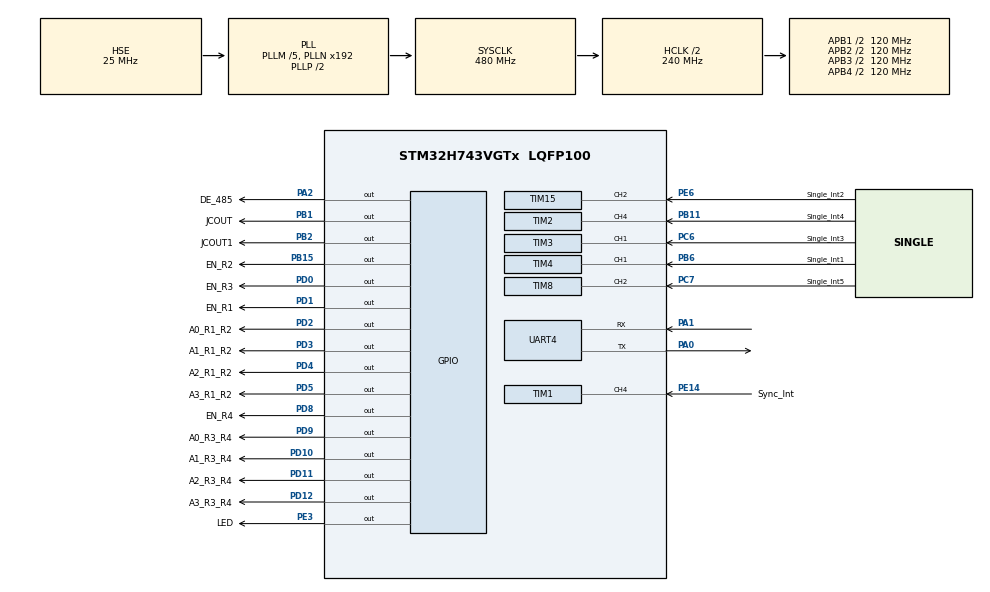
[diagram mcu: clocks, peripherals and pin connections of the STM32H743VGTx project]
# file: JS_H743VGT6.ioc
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CORTEX_M7.default_mode_Activation=1
FREERTOS.CountingSemaphores01=HolesCountingSem,16,Dynamic,NULL,0
FREERTOS.Events01=PositionEvent1_MPC1,Dynamic,NULL;PositionEvent2_MPC1,Dynamic,NULL;PositionEvent3_MPC1,Dynamic,NULL;PositionEvent4_MPC1,Dynamic,NULL;PositionEvent1_MPC2,Dynamic,NULL;PositionEvent2_MPC2,Dynamic,NULL;PositionEvent3_MPC2,Dynamic,NULL;PositionEvent4_MPC2,Dynamic,NULL
FREERTOS.Tasks01=SyncTask,34,128,StartSyncTask,Default,NULL,Dynamic,NULL,NULL;ICTask,32,128,StartICTask,Default,NULL,Dynamic,NULL,NULL;Rec_SwitchTask,32,128,StartRec_SwitchTask,Default,NULL,Dynamic,NULL,NULL;AlarmTask,24,128,StartAlarmTask,Default,NULL,Dynamic,NULL,NULL;Hole_ldentify,24,128,StartHole_ldentifyTask,Default,NULL,Dynamic,NULL,NULL
Mcu.Family=STM32H7
Mcu.Name=STM32H743VGTx
Mcu.Package=LQFP100
NVIC.PriorityGroup=NVIC_PRIORITYGROUP_4
NVIC.TIM15_IRQn=true\:5\:0\:false\:false\:true\:true\:true\:true\:true
NVIC.TIM17_IRQn=true\:15\:0\:false\:false\:true\:false\:false\:true\:true
NVIC.TIM1_CC_IRQn=true\:6\:0\:true\:false\:true\:true\:true\:true\:true
NVIC.TIM1_UP_IRQn=true\:6\:0\:true\:false\:true\:true\:true\:true\:true
NVIC.TIM2_IRQn=true\:6\:0\:true\:false\:true\:true\:true\:true\:true
NVIC.TIM3_IRQn=true\:6\:0\:true\:false\:true\:true\:true\:true\:true
NVIC.TIM4_IRQn=true\:6\:0\:true\:false\:true\:true\:true\:true\:true
NVIC.TIM6_DAC_IRQn=true\:5\:0\:false\:false\:true\:true\:true\:true\:true
NVIC.TIM7_IRQn=true\:6\:0\:true\:false\:true\:true\:true\:true\:true
NVIC.TIM8_CC_IRQn=true\:6\:0\:true\:false\:true\:true\:true\:true\:true
NVIC.TIM8_UP_TIM13_IRQn=true\:6\:0\:true\:false\:true\:true\:true\:true\:true
NVIC.TimeBase=TIM17_IRQn
NVIC.TimeBaseIP=TIM17
NVIC.UART4_IRQn=true\:6\:0\:true\:false\:true\:true\:true\:true\:true
PA0.Mode=Asynchronous
PA0.Signal=UART4_TX
PA1.Mode=Asynchronous
PA1.Signal=UART4_RX
PA13\ (JTMS/SWDIO).Mode=Serial_Wire
PA13\ (JTMS/SWDIO).Signal=DEBUG_JTMS-SWDIO
PA14\ (JTCK/SWCLK).Mode=Serial_Wire
PA14\ (JTCK/SWCLK).Signal=DEBUG_JTCK-SWCLK
PA2.GPIO_Label=DE_485
PA2.GPIO_Speed=GPIO_SPEED_FREQ_HIGH
PA2.Signal=GPIO_Output
PB1.GPIO_Label=JCOUT
PB1.GPIO_Speed=GPIO_SPEED_FREQ_HIGH
PB1.Signal=GPIO_Output
PB11.GPIO_Label=Single_Int4
PB11.GPIO_Speed=GPIO_SPEED_FREQ_HIGH
PB11.Signal=S_TIM2_CH4
PB15.GPIO_Label=EN_R2
PB15.GPIO_ModeDefaultOutputPP=GPIO_MODE_OUTPUT_OD
PB15.GPIO_PuPd=GPIO_NOPULL
PB15.GPIO_Speed=GPIO_SPEED_FREQ_HIGH
PB15.PinState=GPIO_PIN_SET
PB15.Signal=GPIO_Output
PB2.GPIO_Label=JCOUT1
PB2.GPIO_Speed=GPIO_SPEED_FREQ_HIGH
PB2.Signal=GPIO_Output
PB6.GPIO_Label=Single_Int1
PB6.GPIO_Speed=GPIO_SPEED_FREQ_HIGH
PB6.Signal=S_TIM4_CH1
PC6.GPIO_Label=Single_Int3
PC6.GPIO_Speed=GPIO_SPEED_FREQ_HIGH
PC6.Signal=S_TIM3_CH1
PC7.GPIO_Label=Single_Int5
PC7.GPIO_Speed=GPIO_SPEED_FREQ_HIGH
PC7.Signal=S_TIM8_CH2
PD0.GPIO_Label=EN_R3
PD0.GPIO_ModeDefaultOutputPP=GPIO_MODE_OUTPUT_OD
PD0.GPIO_PuPd=GPIO_NOPULL
PD0.GPIO_Speed=GPIO_SPEED_FREQ_HIGH
PD0.PinState=GPIO_PIN_SET
PD0.Signal=GPIO_Output
PD1.GPIO_Label=EN_R1
PD1.GPIO_ModeDefaultOutputPP=GPIO_MODE_OUTPUT_OD
PD1.GPIO_PuPd=GPIO_NOPULL
PD1.GPIO_Speed=GPIO_SPEED_FREQ_HIGH
PD1.PinState=GPIO_PIN_SET
PD1.Signal=GPIO_Output
PD10.GPIO_Label=A1_R3_R4
PD10.GPIO_ModeDefaultOutputPP=GPIO_MODE_OUTPUT_OD
PD10.GPIO_PuPd=GPIO_NOPULL
PD10.GPIO_Speed=GPIO_SPEED_FREQ_HIGH
PD10.PinState=GPIO_PIN_SET
PD10.Signal=GPIO_Output
PD11.GPIO_Label=A2_R3_R4
PD11.GPIO_ModeDefaultOutputPP=GPIO_MODE_OUTPUT_OD
PD11.GPIO_PuPd=GPIO_NOPULL
PD11.GPIO_Speed=GPIO_SPEED_FREQ_HIGH
PD11.PinState=GPIO_PIN_SET
PD11.Signal=GPIO_Output
PD12.GPIO_Label=A3_R3_R4
PD12.GPIO_ModeDefaultOutputPP=GPIO_MODE_OUTPUT_OD
PD12.GPIO_PuPd=GPIO_NOPULL
PD12.GPIO_Speed=GPIO_SPEED_FREQ_HIGH
PD12.PinState=GPIO_PIN_SET
PD12.Signal=GPIO_Output
PD2.GPIO_Label=A0_R1_R2
PD2.GPIO_ModeDefaultOutputPP=GPIO_MODE_OUTPUT_OD
PD2.GPIO_PuPd=GPIO_NOPULL
PD2.GPIO_Speed=GPIO_SPEED_FREQ_HIGH
PD2.PinState=GPIO_PIN_SET
PD2.Signal=GPIO_Output
PD3.GPIO_Label=A1_R1_R2
PD3.GPIO_ModeDefaultOutputPP=GPIO_MODE_OUTPUT_OD
PD3.GPIO_PuPd=GPIO_NOPULL
PD3.GPIO_Speed=GPIO_SPEED_FREQ_HIGH
PD3.PinState=GPIO_PIN_SET
PD3.Signal=GPIO_Output
PD4.GPIO_Label=A2_R1_R2
PD4.GPIO_ModeDefaultOutputPP=GPIO_MODE_OUTPUT_OD
PD4.GPIO_PuPd=GPIO_NOPULL
PD4.GPIO_Speed=GPIO_SPEED_FREQ_HIGH
PD4.PinState=GPIO_PIN_SET
PD4.Signal=GPIO_Output
PD5.GPIO_Label=A3_R1_R2
PD5.GPIO_ModeDefaultOutputPP=GPIO_MODE_OUTPUT_OD
PD5.GPIO_PuPd=GPIO_NOPULL
PD5.GPIO_Speed=GPIO_SPEED_FREQ_HIGH
PD5.PinState=GPIO_PIN_SET
PD5.Signal=GPIO_Output
PD8.GPIO_Label=EN_R4
PD8.GPIO_ModeDefaultOutputPP=GPIO_MODE_OUTPUT_OD
PD8.GPIO_PuPd=GPIO_NOPULL
PD8.GPIO_Speed=GPIO_SPEED_FREQ_HIGH
PD8.PinState=GPIO_PIN_SET
PD8.Signal=GPIO_Output
PD9.GPIO_Label=A0_R3_R4
PD9.GPIO_ModeDefaultOutputPP=GPIO_MODE_OUTPUT_OD
PD9.GPIO_PuPd=GPIO_NOPULL
PD9.GPIO_Speed=GPIO_SPEED_FREQ_HIGH
PD9.PinState=GPIO_PIN_SET
PD9.Signal=GPIO_Output
PE14.GPIO_Label=Sync_Int
PE14.GPIO_Speed=GPIO_SPEED_FREQ_HIGH
PE14.Signal=S_TIM1_CH4
PE3.GPIO_Label=LED
PE3.GPIO_Speed=GPIO_SPEED_FREQ_HIGH
PE3.PinState=GPIO_PIN_SET
PE3.Signal=GPIO_Output
PE6.GPIO_Label=Single_Int2
PE6.GPIO_Speed=GPIO_SPEED_FREQ_HIGH
PE6.Signal=S_TIM15_CH2
PH0-OSC_IN\ (PH0).Mode=HSE-External-Oscillator
PH0-OSC_IN\ (PH0).Signal=RCC_OSC_IN
PH1-OSC_OUT\ (PH1).Mode=HSE-External-Oscillator
PH1-OSC_OUT\ (PH1).Signal=RCC_OSC_OUT
ProjectManager.HeapSize=0x200
ProjectManager.StackSize=0x400
ProjectManager.TargetToolchain=MDK-ARM V5.32
RCC.ADCFreq_Value=50390625
RCC.APB1Freq_Value=120000000
RCC.APB2Freq_Value=120000000
RCC.APB3Freq_Value=120000000
RCC.APB4Freq_Value=120000000
RCC.CortexFreq_Value=480000000
RCC.D1PPRE=RCC_APB3_DIV2
RCC.D2PPRE1=RCC_APB1_DIV2
RCC.D2PPRE2=RCC_APB2_DIV2
RCC.D3PPRE=RCC_APB4_DIV2
RCC.DIVM1=5
RCC.DIVN1=192
RCC.HCLKFreq_Value=240000000
RCC.HPRE=RCC_HCLK_DIV2
RCC.PLL2FRACN=0
RCC.PLL3FRACN=0
RCC.PLLFRACN=0
RCC.PLLSourceVirtual=RCC_PLLSOURCE_HSE
RCC.SYSCLKFreq_VALUE=480000000
RCC.SYSCLKSource=RCC_SYSCLKSOURCE_PLLCLK
RCC.USBFreq_Value=480000000
SH.S_TIM15_CH2.0=TIM15_CH2,Input_Capture2_from_TI2
SH.S_TIM1_CH4.0=TIM1_CH4,Input_Capture4_from_TI4
SH.S_TIM2_CH4.0=TIM2_CH4,Input_Capture4_from_TI4
SH.S_TIM3_CH1.0=TIM3_CH1,Input_Capture1_from_TI1
SH.S_TIM4_CH1.0=TIM4_CH1,Input_Capture1_from_TI1
SH.S_TIM8_CH2.0=TIM8_CH2,Input_Capture2_from_TI2
TIM1.AutoReloadPreload=TIM_AUTORELOAD_PRELOAD_ENABLE
TIM1.Channel-Input_Capture4_from_TI4=TIM_CHANNEL_4
TIM1.Period=50000-1
TIM1.Prescaler=240-1
TIM15.AutoReloadPreload=TIM_AUTORELOAD_PRELOAD_ENABLE
TIM15.Channel-Input_Capture2_from_TI2=TIM_CHANNEL_2
TIM15.ICPolarity_CH2=TIM_INPUTCHANNELPOLARITY_FALLING
TIM15.Period=50000-1
TIM15.Prescaler=240-1
TIM2.AutoReloadPreload=TIM_AUTORELOAD_PRELOAD_ENABLE
TIM2.Channel-Input_Capture4_from_TI4=TIM_CHANNEL_4
TIM2.Period=50000-1
TIM2.Prescaler=240-1
TIM3.AutoReloadPreload=TIM_AUTORELOAD_PRELOAD_ENABLE
TIM3.Channel-Input_Capture1_from_TI1=TIM_CHANNEL_1
TIM3.Period=50000-1
TIM3.Prescaler=240-1
TIM4.AutoReloadPreload=TIM_AUTORELOAD_PRELOAD_ENABLE
TIM4.Channel-Input_Capture1_from_TI1=TIM_CHANNEL_1
TIM4.Period=50000-1
TIM4.Prescaler=240-1
TIM6.AutoReloadPreload=TIM_AUTORELOAD_PRELOAD_ENABLE
TIM6.Period=10-1
TIM6.Prescaler=240-1
TIM7.AutoReloadPreload=TIM_AUTORELOAD_PRELOAD_ENABLE
TIM7.Period=500-1
TIM7.Prescaler=240-1
TIM8.AutoReloadPreload=TIM_AUTORELOAD_PRELOAD_ENABLE
TIM8.Channel-Input_Capture2_from_TI2=TIM_CHANNEL_2
TIM8.Period=50000-1
TIM8.Prescaler=240-1
VP_FREERTOS_VS_CMSIS_V2.Mode=CMSIS_V2
VP_MEMORYMAP_VS_MEMORYMAP.Mode=CurAppReg
VP_SYS_VS_tim17.Mode=TIM17
VP_TIM15_VS_ClockSourceINT.Mode=Internal
VP_TIM2_VS_ClockSourceINT.Mode=Internal
VP_TIM3_VS_ClockSourceINT.Mode=Internal
VP_TIM4_VS_ClockSourceINT.Mode=Internal
VP_TIM6_VS_ClockSourceINT.Mode=Enable_Timer
VP_TIM7_VS_ClockSourceINT.Mode=Enable_Timer
VP_TIM8_VS_ClockSourceINT.Mode=Internal
board=custom

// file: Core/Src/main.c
/* USER CODE BEGIN Header */
/**
  ******************************************************************************
  * @file           : main.c
  * @brief          : Main program body
  ******************************************************************************
  * @attention
  *
  * Copyright (c) 2024 STMicroelectronics.
  * All rights reserved.
  *
  * This software is licensed under terms that can be found in the LICENSE file
  * in the root directory of this software component.
  * If no LICENSE file comes with this software, it is provided AS-IS.
  *
  ******************************************************************************
  */
/* USER CODE END Header */
#include "main.h"
#include "cmsis_os.h"
#include "memorymap.h"
#include "tim.h"
#include "usart.h"
#include "gpio.h"

void SystemClock_Config(void);
static void MPU_Config(void);
void MX_FREERTOS_Init(void);

int main(void)
{

  /* MPU Configuration--------------------------------------------------------*/
  MPU_Config();

  /* MCU Configuration--------------------------------------------------------*/

  /* Reset of all peripherals, Initializes the Flash interface and the Systick. */
  HAL_Init();

  /* Configure the system clock */
  SystemClock_Config();

  /* Initialize all configured peripherals */
  MX_GPIO_Init();
  MX_TIM2_Init();
  MX_TIM3_Init();
  MX_TIM4_Init();
  MX_TIM8_Init();
  MX_TIM15_Init();
  MX_TIM1_Init();
  MX_UART4_Init();
  MX_TIM6_Init();
  MX_TIM7_Init();

  /* Init scheduler */
  osKernelInitialize();

  /* Call init function for freertos objects (in cmsis_os2.c) */
  MX_FREERTOS_Init();

  /* Start scheduler */
  osKernelStart();

  /* We should never get here as control is now taken by the scheduler */

  /* Infinite loop */
  while (1)
  {

  }
}

void SystemClock_Config(void)
{
  RCC_OscInitTypeDef RCC_OscInitStruct = {0};
  RCC_ClkInitTypeDef RCC_ClkInitStruct = {0};

  /** Supply configuration update enable
  */
  HAL_PWREx_ConfigSupply(PWR_LDO_SUPPLY);

  /** Configure the main internal regulator output voltage
  */
  __HAL_PWR_VOLTAGESCALING_CONFIG(PWR_REGULATOR_VOLTAGE_SCALE1);

  while(!__HAL_PWR_GET_FLAG(PWR_FLAG_VOSRDY)) {}

  __HAL_RCC_SYSCFG_CLK_ENABLE();
  __HAL_PWR_VOLTAGESCALING_CONFIG(PWR_REGULATOR_VOLTAGE_SCALE0);

  while(!__HAL_PWR_GET_FLAG(PWR_FLAG_VOSRDY)) {}

  /** Initializes the RCC Oscillators according to the specified parameters
  * in the RCC_OscInitTypeDef structure.
  */
  RCC_OscInitStruct.OscillatorType = RCC_OSCILLATORTYPE_HSE;
  RCC_OscInitStruct.HSEState = RCC_HSE_ON;
  RCC_OscInitStruct.PLL.PLLState = RCC_PLL_ON;
  RCC_OscInitStruct.PLL.PLLSource = RCC_PLLSOURCE_HSE;
  RCC_OscInitStruct.PLL.PLLM = 5;
  RCC_OscInitStruct.PLL.PLLN = 192;
  RCC_OscInitStruct.PLL.PLLP = 2;
  RCC_OscInitStruct.PLL.PLLQ = 2;
  RCC_OscInitStruct.PLL.PLLR = 2;
  RCC_OscInitStruct.PLL.PLLRGE = RCC_PLL1VCIRANGE_2;
  RCC_OscInitStruct.PLL.PLLVCOSEL = RCC_PLL1VCOWIDE;
  RCC_OscInitStruct.PLL.PLLFRACN = 0;
  if (HAL_RCC_OscConfig(&RCC_OscInitStruct) != HAL_OK)
  {
    Error_Handler();
  }

  /** Initializes the CPU, AHB and APB buses clocks
  */
  RCC_ClkInitStruct.ClockType = RCC_CLOCKTYPE_HCLK|RCC_CLOCKTYPE_SYSCLK
                              |RCC_CLOCKTYPE_PCLK1|RCC_CLOCKTYPE_PCLK2
                              |RCC_CLOCKTYPE_D3PCLK1|RCC_CLOCKTYPE_D1PCLK1;
  RCC_ClkInitStruct.SYSCLKSource = RCC_SYSCLKSOURCE_PLLCLK;
  RCC_ClkInitStruct.SYSCLKDivider = RCC_SYSCLK_DIV1;
  RCC_ClkInitStruct.AHBCLKDivider = RCC_HCLK_DIV2;
  RCC_ClkInitStruct.APB3CLKDivider = RCC_APB3_DIV2;
  RCC_ClkInitStruct.APB1CLKDivider = RCC_APB1_DIV2;
  RCC_ClkInitStruct.APB2CLKDivider = RCC_APB2_DIV2;
  RCC_ClkInitStruct.APB4CLKDivider = RCC_APB4_DIV2;

  if (HAL_RCC_ClockConfig(&RCC_ClkInitStruct, FLASH_LATENCY_4) != HAL_OK)
  {
    Error_Handler();
  }
}

 /* MPU Configuration */

void MPU_Config(void)
{
  MPU_Region_InitTypeDef MPU_InitStruct = {0};

  /* Disables the MPU */
  HAL_MPU_Disable();

  /** Initializes and configures the Region and the memory to be protected
  */
  MPU_InitStruct.Enable = MPU_REGION_ENABLE;
  MPU_InitStruct.Number = MPU_REGION_NUMBER0;
  MPU_InitStruct.BaseAddress = 0x0;
  MPU_InitStruct.Size = MPU_REGION_SIZE_4GB;
  MPU_InitStruct.SubRegionDisable = 0x87;
  MPU_InitStruct.TypeExtField = MPU_TEX_LEVEL0;
  MPU_InitStruct.AccessPermission = MPU_REGION_NO_ACCESS;
  MPU_InitStruct.DisableExec = MPU_INSTRUCTION_ACCESS_DISABLE;
  MPU_InitStruct.IsShareable = MPU_ACCESS_SHAREABLE;
  MPU_InitStruct.IsCacheable = MPU_ACCESS_NOT_CACHEABLE;
  MPU_InitStruct.IsBufferable = MPU_ACCESS_NOT_BUFFERABLE;

  HAL_MPU_ConfigRegion(&MPU_InitStruct);
  /* Enables the MPU */
  HAL_MPU_Enable(MPU_PRIVILEGED_DEFAULT);

}

// void HAL_TIM_PeriodElapsedCallback(TIM_HandleTypeDef *htim)
// {
//   /* USER CODE BEGIN Callback 0 */

//   /* USER CODE END Callback 0 */
//   if (htim->Instance == TIM17) {
//     HAL_IncTick();
//   }
//   /* USER CODE BEGIN Callback 1 */

//   /* USER CODE END Callback 1 */
// }

void Error_Handler(void)
{
  __disable_irq();
  while (1)
  {
  }
}

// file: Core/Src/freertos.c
/* USER CODE BEGIN Header */
/**
 ******************************************************************************
 * File Name          : freertos.c
 * Description        : Code for freertos applications
 ******************************************************************************
 * @attention
 *
 * Copyright (c) 2024 STMicroelectronics.
 * All rights reserved.
 *
 * This software is licensed under terms that can be found in the LICENSE file
 * in the root directory of this software component.
 * If no LICENSE file comes with this software, it is provided AS-IS.
 *
 ******************************************************************************
 */
/* USER CODE END Header */

#include "FreeRTOS.h"
#include "task.h"
#include "main.h"
#include "cmsis_os.h"

/* USER CODE BEGIN Includes */
#include "tim.h"
#include "gpio.h"
#include "limits.h"
#include "usart.h"
#include "stdio.h"
#include "semphr.h"
#include "portmacro.h"
#include "event_groups.h"

extern uint32_t Sync_capture_Buf[2]; // 存放计数值
extern uint8_t Sync_Cnt;             // 状态标志位
extern uint32_t Sync_high_time;      // 高电平时间

uint16_t semavalue = 0;

uint8_t Isfirstcirculation = 1;

int32_t position_old[4] = {0};
int32_t position_xor[4] = {0};

uint8_t position_num = 0;

uint32_t test[8] ={0};
;
/* USER CODE END Includes */

/* Definitions for SyncTask */
osThreadId_t SyncTaskHandle;
const osThreadAttr_t SyncTask_attributes = {
  .name = "SyncTask",
  .stack_size = 128 * 4,
  .priority = (osPriority_t) osPriorityAboveNormal2,
};
/* Definitions for ICTask */
osThreadId_t ICTaskHandle;
const osThreadAttr_t ICTask_attributes = {
  .name = "ICTask",
  .stack_size = 128 * 4,
  .priority = (osPriority_t) osPriorityAboveNormal,
};
/* Definitions for Rec_SwitchTask */
osThreadId_t Rec_SwitchTaskHandle;
const osThreadAttr_t Rec_SwitchTask_attributes = {
  .name = "Rec_SwitchTask",
  .stack_size = 128 * 4,
  .priority = (osPriority_t) osPriorityAboveNormal,
};
/* Definitions for AlarmTask */
osThreadId_t AlarmTaskHandle;
const osThreadAttr_t AlarmTask_attributes = {
  .name = "AlarmTask",
  .stack_size = 128 * 4,
  .priority = (osPriority_t) osPriorityNormal,
};
/* Definitions for Hole_ldentify */
osThreadId_t Hole_ldentifyHandle;
const osThreadAttr_t Hole_ldentify_attributes = {
  .name = "Hole_ldentify",
  .stack_size = 128 * 4,
  .priority = (osPriority_t) osPriorityNormal,
};
/* Definitions for HolesCountingSem */
osSemaphoreId_t HolesCountingSemHandle;
const osSemaphoreAttr_t HolesCountingSem_attributes = {
  .name = "HolesCountingSem"
};
/* Definitions for PositionEvent1_MPC1 */
osEventFlagsId_t PositionEvent1_MPC1Handle;
const osEventFlagsAttr_t PositionEvent1_MPC1_attributes = {
  .name = "PositionEvent1_MPC1"
};
/* Definitions for PositionEvent2_MPC1 */
osEventFlagsId_t PositionEvent2_MPC1Handle;
const osEventFlagsAttr_t PositionEvent2_MPC1_attributes = {
  .name = "PositionEvent2_MPC1"
};
/* Definitions for PositionEvent3_MPC1 */
osEventFlagsId_t PositionEvent3_MPC1Handle;
const osEventFlagsAttr_t PositionEvent3_MPC1_attributes = {
  .name = "PositionEvent3_MPC1"
};
/* Definitions for PositionEvent4_MPC1 */
osEventFlagsId_t PositionEvent4_MPC1Handle;
const osEventFlagsAttr_t PositionEvent4_MPC1_attributes = {
  .name = "PositionEvent4_MPC1"
};
/* Definitions for PositionEvent1_MPC2 */
osEventFlagsId_t PositionEvent1_MPC2Handle;
const osEventFlagsAttr_t PositionEvent1_MPC2_attributes = {
  .name = "PositionEvent1_MPC2"
};
/* Definitions for PositionEvent2_MPC2 */
osEventFlagsId_t PositionEvent2_MPC2Handle;
const osEventFlagsAttr_t PositionEvent2_MPC2_attributes = {
  .name = "PositionEvent2_MPC2"
};
/* Definitions for PositionEvent3_MPC2 */
osEventFlagsId_t PositionEvent3_MPC2Handle;
const osEventFlagsAttr_t PositionEvent3_MPC2_attributes = {
  .name = "PositionEvent3_MPC2"
};
/* Definitions for PositionEvent4_MPC2 */
osEventFlagsId_t PositionEvent4_MPC2Handle;
const osEventFlagsAttr_t PositionEvent4_MPC2_attributes = {
  .name = "PositionEvent4_MPC2"
};

void StartSyncTask(void *argument);
void StartICTask(void *argument);
void StartRec_SwitchTask(void *argument);
void StartAlarmTask(void *argument);
void StartHole_ldentifyTask(void *argument);

void MX_FREERTOS_Init(void); /* (MISRA C 2004 rule 8.1) */

void MX_FREERTOS_Init(void) {

  /* Create the semaphores(s) */
  /* creation of HolesCountingSem */
  HolesCountingSemHandle = osSemaphoreNew(16, 0, &HolesCountingSem_attributes);

  /* Create the thread(s) */
  /* creation of SyncTask */
  SyncTaskHandle = osThreadNew(StartSyncTask, NULL, &SyncTask_attributes);

  /* creation of ICTask */
  ICTaskHandle = osThreadNew(StartICTask, NULL, &ICTask_attributes);

  /* creation of Rec_SwitchTask */
  Rec_SwitchTaskHandle = osThreadNew(StartRec_SwitchTask, NULL, &Rec_SwitchTask_attributes);

  /* creation of AlarmTask */
  AlarmTaskHandle = osThreadNew(StartAlarmTask, NULL, &AlarmTask_attributes);

  /* creation of Hole_ldentify */
  Hole_ldentifyHandle = osThreadNew(StartHole_ldentifyTask, NULL, &Hole_ldentify_attributes);

  /* Create the event(s) */
  /* creation of PositionEvent1_MPC1 */
  PositionEvent1_MPC1Handle = osEventFlagsNew(&PositionEvent1_MPC1_attributes);

  /* creation of PositionEvent2_MPC1 */
  PositionEvent2_MPC1Handle = osEventFlagsNew(&PositionEvent2_MPC1_attributes);

  /* creation of PositionEvent3_MPC1 */
  PositionEvent3_MPC1Handle = osEventFlagsNew(&PositionEvent3_MPC1_attributes);

  /* creation of PositionEvent4_MPC1 */
  PositionEvent4_MPC1Handle = osEventFlagsNew(&PositionEvent4_MPC1_attributes);

  /* creation of PositionEvent1_MPC2 */
  PositionEvent1_MPC2Handle = osEventFlagsNew(&PositionEvent1_MPC2_attributes);

  /* creation of PositionEvent2_MPC2 */
  PositionEvent2_MPC2Handle = osEventFlagsNew(&PositionEvent2_MPC2_attributes);

  /* creation of PositionEvent3_MPC2 */
  PositionEvent3_MPC2Handle = osEventFlagsNew(&PositionEvent3_MPC2_attributes);

  /* creation of PositionEvent4_MPC2 */
  PositionEvent4_MPC2Handle = osEventFlagsNew(&PositionEvent4_MPC2_attributes);

}

void StartSyncTask(void *argument)
{
  /* USER CODE BEGIN StartSyncTask */
  /* Infinite loop */
  for (;;)
  {
		test[0]++;
    switch (Sync_Cnt)
    {
    case 0:
      Sync_Cnt++;
      TIM_RESET_CAPTUREPOLARITY(&htim1, TIM_CHANNEL_4);
      __HAL_TIM_SET_CAPTUREPOLARITY(&htim1, TIM_CHANNEL_4, TIM_INPUTCHANNELPOLARITY_RISING);
      HAL_TIM_IC_Start_IT(&htim1, TIM_CHANNEL_4); // 启动输入捕获       或者: __HAL_TIM_ENABLE(&htim5);
      break;
    case 3:
      if (Sync_capture_Buf[1] < Sync_capture_Buf[0])
      {                                                                       // 不存在先捕获高电平后捕获低电平capture_Buf[1]<capture_Buf[0],肯定是有了溢出
        Sync_high_time = 50000 + Sync_capture_Buf[1] - Sync_capture_Buf[0]; // 100000    0x186A0
      }
      else
      {
        Sync_high_time = Sync_capture_Buf[1] - Sync_capture_Buf[0]; // 高电平时间
      }

      // Sync_Cnt = 0;
      // if (Sync_high_time == 0x1B)
      if (Sync_high_time >= 0x19&&Sync_high_time <= 0x1D)
      {
        Sync_Cnt = 5;

        xTaskNotifyGive((TaskHandle_t)Rec_SwitchTaskHandle);
        xTaskNotifyGive((TaskHandle_t)ICTaskHandle);
        vTaskDelay(4);
      }
      else
      {
        Sync_Cnt = 0;
      }
    }

  }
  /* USER CODE END StartSyncTask */
}

void StartICTask(void *argument)
{
  /* USER CODE BEGIN StartICTask */
  BaseType_t ret;

  /* Infinite loop */
  for (;;)
  {
		test[1]++;
    ret = ulTaskNotifyTake(pdFALSE, portMAX_DELAY);
    if (ret == pdPASS)
    {
      // LXXX:按照所查资料提示，如果不行那就还是将同步引脚更改为其他引脚，TIM2作为主定时器通过事件触发从定时器同步捕获，硬件层面的同步捕获
      HAL_TIM_IC_Start_IT(&htim4, TIM_CHANNEL_1);
      HAL_TIM_IC_Start_IT(&htim15, TIM_CHANNEL_2);
      HAL_TIM_IC_Start_IT(&htim3, TIM_CHANNEL_1);
      HAL_TIM_IC_Start_IT(&htim2, TIM_CHANNEL_4);
    }
    else
    {

    }
    vTaskDelay(4);
  }
  /* USER CODE END StartICTask */
}

void StartRec_SwitchTask(void *argument)
{
  /* USER CODE BEGIN StartRec_SwitchTask */
  BaseType_t ret;
  /* Infinite loop */
  for (;;)
  {
	test[2]++;
#if 1
    ret = ulTaskNotifyTake(pdFALSE, portMAX_DELAY);
#endif
    if (ret == pdPASS)
    {
      EN_R1_R2_open();
      HAL_TIM_Base_Start_IT(&htim6); // start timer for R1_channel switch
    }
    else
    {

    }
    vTaskDelay(4);
  }
  /* USER CODE END StartRec_SwitchTask */
}

void StartAlarmTask(void *argument)
{
  /* USER CODE BEGIN StartAlarmTask */
  BaseType_t ret;
  // TickType_t xLastWakeTime;

  // // 初始化xLastWakeTime为当前的tick计数
  // xLastWakeTime = xTaskGetTickCount();
  /* Infinite loop */
  for (;;)
  {
		test[3]++;
    ret = ulTaskNotifyTake(pdFALSE, portMAX_DELAY);
    if (ret == pdPASS)
    {
      for(int i=0;i<4;i++){
      for (int j = 0; j < 32; j++)
      {
        if (((position_xor[i] >> j) & 1) == 1)
        {
          semavalue++;
        }
      }
    }
    }

    if (semavalue > 0)
    {
      semavalue--;
      Holes_output_alarm_Reported();
    }

    vTaskDelay(4);
  }
  /* USER CODE END StartAlarmTask */
}

void StartHole_ldentifyTask(void *argument)
{
  /* USER CODE BEGIN StartHole_ldentifyTask */
    BaseType_t ret;
  int32_t position_new[4] = {0};

  int32_t position_new_plus_old[4] = {0};
  EventGroupHandle_t eventHandles[] = {
      PositionEvent1_MPC1Handle, PositionEvent1_MPC2Handle,
      PositionEvent2_MPC1Handle, PositionEvent2_MPC2Handle,
      PositionEvent3_MPC1Handle, PositionEvent3_MPC2Handle,
      PositionEvent4_MPC1Handle, PositionEvent4_MPC2Handle};
  /* Infinite loop */
  for(;;)
  {
		test[4]++;
     ret = ulTaskNotifyTake(pdFALSE, portMAX_DELAY);
    if (ret == pdPASS)

    {
      if (Isfirstcirculation) // 上电第一次循环
      {
        for (position_num = 0; position_num < 4; position_num++)
        {
          position_old[position_num] = (osEventFlagsGet(eventHandles[position_num * 2 + 1]) & 0xFFFF);
          position_old[position_num] |= (osEventFlagsGet(eventHandles[position_num * 2]) & 0xFFFF) << 16;
        }
        Isfirstcirculation = 0;
      }
      else
      {
        // 更新position_new并计算
        for (position_num = 0; position_num < 4; position_num++)
        {
          // 获取新值
          position_new[position_num] = (osEventFlagsGet(eventHandles[position_num * 2 + 1]) & 0xFFFF);
          position_new[position_num] |= (osEventFlagsGet(eventHandles[position_num * 2]) & 0xFFFF) << 16;

          // 计算异或和差值
          position_xor[position_num] = position_old[position_num] ^ position_new[position_num];
          position_new_plus_old[position_num] = position_new[position_num] - position_old[position_num];
          // 条件检查和通知
          if (position_xor[position_num] != 0 && position_new_plus_old[position_num] > 0 && xTaskGetSchedulerState() != taskSCHEDULER_NOT_STARTED)
          {
            xTaskNotifyGive(AlarmTaskHandle);
          }
              // 更新old值
          position_old[position_num] = position_new[position_num];
        }

        // 清除所有标志位，以便新的一轮置位
        for (position_num = 0; position_num < 8; position_num++)
        {
          xEventGroupClearBits(eventHandles[position_num], 0xFFFF);
        }
      }
    }
    vTaskDelay(4);
  }
  /* USER CODE END StartHole_ldentifyTask */
}
